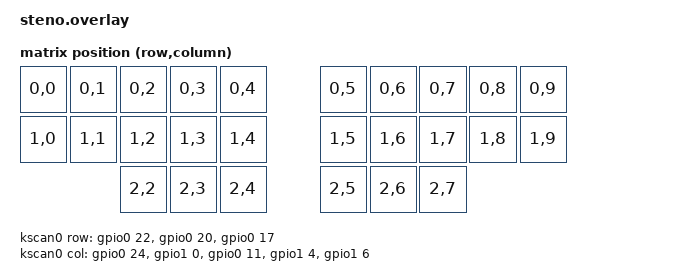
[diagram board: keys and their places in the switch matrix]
#include <dt-bindings/zmk/matrix_transform.h>

/ {
    chosen {
        zmk,kscan = &kscan0;
        zmk,matrix_transform = &default_transform;
    };

    kscan0: kscan_0 {
        compatible = "zmk,kscan-gpio-matrix";
        diode-direction = "col2row";
        
        row-gpios = <&gpio0 22 (GPIO_ACTIVE_HIGH | GPIO_PULL_DOWN)>, // ROW0
                    <&gpio0 20 (GPIO_ACTIVE_HIGH | GPIO_PULL_DOWN)>, // ROW1
                    <&gpio0 17 (GPIO_ACTIVE_HIGH | GPIO_PULL_DOWN)>; // ROW2

        col-gpios = <&gpio0 24 GPIO_ACTIVE_HIGH>, // COL0
                    <&gpio1 0  GPIO_ACTIVE_HIGH>, // COL1
                    <&gpio0 11 GPIO_ACTIVE_HIGH>, // COL2
                    <&gpio1 4  GPIO_ACTIVE_HIGH>, // COL3
                    <&gpio1 6  GPIO_ACTIVE_HIGH>; // COL4
    };

    default_transform: keymap_transform_0 {
        compatible = "zmk,keymap-transform";
        columns = <10>;
        rows = <3>;

        // Dit vertelt ZMK hoe de knoppen fysiek op je bord zitten
        // De lege plekken (onder de eerste twee linkse toetsen) worden hiermee overgeslagen
        map = <
            RC(0,0) RC(0,1) RC(0,2) RC(0,3) RC(0,4)    RC(0,5) RC(0,6) RC(0,7) RC(0,8) RC(0,9)
            RC(1,0) RC(1,1) RC(1,2) RC(1,3) RC(1,4)    RC(1,5) RC(1,6) RC(1,7) RC(1,8) RC(1,9)
                            RC(2,2) RC(2,3) RC(2,4)    RC(2,5) RC(2,6) RC(2,7)
        >;
    };
};
